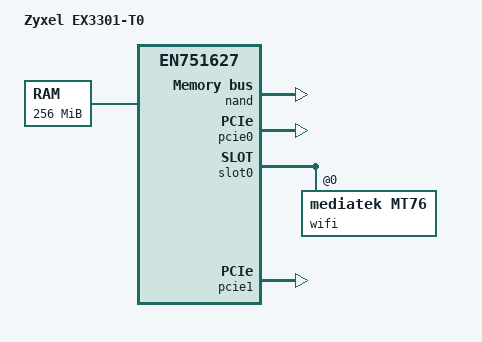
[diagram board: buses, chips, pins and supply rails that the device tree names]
// SPDX-License-Identifier: (GPL-2.0-only OR BSD-2-Clause)
/dts-v1/;

#include "en751627.dtsi"

/ {
	model = "Zyxel EX3301-T0";
	compatible = "zyxel,ex3301-t0", "econet,en751627";

	memory@0 {
		device_type = "memory";
		reg = <0x00000000 0x10000000>;
	};

	chosen {
		stdout-path = "/serial@1fbf0000:115200";
	};
};

&nand {
	status = "okay";
	econet,bmt;

	partitions {
		compatible = "fixed-partitions";
		#address-cells = <1>;
		#size-cells = <1>;

		partition@0all {
			label = "all_of_flash";
			reg = <0x0 0x8000000>;
			read-only;
		};

		partition@0 {
			label = "bootloader";
			reg = <0x0 0x40000>;
			read-only;
		};

		partition@40000 {
			label = "romfile";
			reg = <0x40000 0x40000>;
			read-only;
		};

		partition@80000 {
			label = "tclinux";
			reg = <0x80000 0x2800000>;
			read-only;
			econet,enable-remap;
		};

		/* Nested inside of tclinux */
		partition@480000 {
			label = "rootfs";
			reg = <0x480000 0x2400000>;
			linux,rootfs;
			read-only;
		};

		partition@2880000 {
			label = "tclinux_alt";
			reg = <0x2880000 0x2620000>;
		};

		partition@4ea0000 {
			label = "wwan";
			reg = <0x4ea0000 0x100000>;
		};

		partition@4fa0000 {
			label = "factory_data";
			reg = <0x4fa0000 0x400000>;
		};

		partition@53a0000 {
			label = "rom-d";
			reg = <0x53a0000 0x100000>;
		};

		partition@54a0000 {
			label = "misc";
			reg = <0x54a0000 0x2000000>;
		};

		factory: partition@74a0000 {
			label = "factory";
			reg = <0x74a0000 0x80000>;
		};

		partition@7520000 {
			label = "reservearea";
			reg = <0x7520000 0xc0000>;
		};
	};
};

&pcie0 {
	status = "okay";
};
&slot0 {
	status = "okay";

	wifi@0,0 {
		compatible = "mediatek,mt76";
		reg = <0x0000 0 0 0 0>;
		mediatek,mtd-eeprom = <&factory 0x0000>;
		big-endian;
	};
};

&pcie1 {
	status = "okay";

	/* Slot 1 is a second link to the same wifi chip */
};
